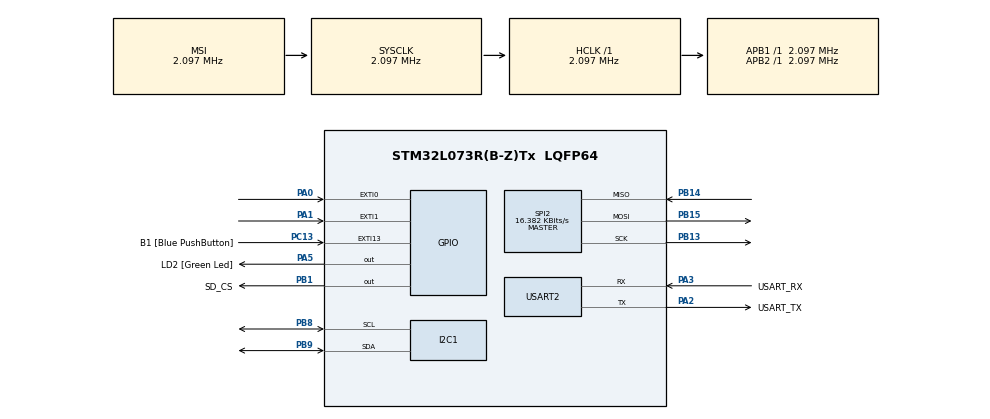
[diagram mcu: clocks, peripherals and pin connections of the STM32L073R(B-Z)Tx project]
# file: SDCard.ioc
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I2C1.Timing=0x00000608
Mcu.Family=STM32L0
Mcu.Name=STM32L073R(B-Z)Tx
Mcu.Package=LQFP64
NVIC.EXTI0_1_IRQn=true\:0\:0\:false\:false\:true\:true\:true\:true
PA0.GPIO_ModeDefaultEXTI=GPIO_MODE_IT_FALLING
PA0.GPIO_PuPd=GPIO_PULLUP
PA0.Signal=GPXTI0
PA1.GPIO_ModeDefaultEXTI=GPIO_MODE_IT_FALLING
PA1.GPIO_PuPd=GPIO_PULLUP
PA1.Signal=GPXTI1
PA13.GPIO_Label=TMS
PA13.Mode=Serial_Wire
PA13.Signal=SYS_SWDIO
PA14.GPIO_Label=TCK
PA14.Mode=Serial_Wire
PA14.Signal=SYS_SWCLK
PA2.GPIO_Label=USART_TX
PA2.Mode=Asynchronous
PA2.Signal=USART2_TX
PA3.GPIO_Label=USART_RX
PA3.Mode=Asynchronous
PA3.Signal=USART2_RX
PA5.GPIO_Label=LD2 [Green Led]
PA5.Signal=GPIO_Output
PB1.GPIO_Label=SD_CS
PB1.Signal=GPIO_Output
PB13.Mode=Full_Duplex_Master
PB13.Signal=SPI2_SCK
PB14.Mode=Full_Duplex_Master
PB14.Signal=SPI2_MISO
PB15.Mode=Full_Duplex_Master
PB15.Signal=SPI2_MOSI
PB8.Mode=I2C
PB8.Signal=I2C1_SCL
PB9.Mode=I2C
PB9.Signal=I2C1_SDA
PC13.GPIO_Label=B1 [Blue PushButton]
PC13.GPIO_ModeDefaultEXTI=GPIO_MODE_IT_FALLING
PC13.Signal=GPXTI13
PC14-OSC32_IN.Mode=LSE-External-Oscillator
PC14-OSC32_IN.Signal=RCC_OSC32_IN
PC15-OSC32_OUT.Mode=LSE-External-Oscillator
PC15-OSC32_OUT.Signal=RCC_OSC32_OUT
PH0-OSC_IN.GPIO_Label=MCO
PH0-OSC_IN.Mode=HSE-External-Clock-Source
PH0-OSC_IN.Signal=RCC_OSC_IN
ProjectManager.HeapSize=0x200
ProjectManager.StackSize=0x400
ProjectManager.TargetToolchain=STM32CubeIDE
RCC.AHBFreq_Value=2097000
RCC.APB1Freq_Value=2097000
RCC.APB1TimFreq_Value=2097000
RCC.APB2Freq_Value=2097000
RCC.APB2TimFreq_Value=2097000
RCC.HSE_VALUE=8000000
RCC.HSI16_VALUE=16000000
RCC.HSI48_VALUE=48000000
RCC.HSI_VALUE=16000000
RCC.MSI_VALUE=2097000
RCC.SYSCLKFreq_VALUE=2097000
RCC.VCOOutputFreq_Value=48000000
SPI2.BaudRatePrescaler=SPI_BAUDRATEPRESCALER_128
SPI2.CalculateBaudRate=16.382 KBits/s
SPI2.Direction=SPI_DIRECTION_2LINES
SPI2.Mode=SPI_MODE_MASTER
SPI2.VirtualType=VM_MASTER
USART2.VirtualMode-Asynchronous=VM_ASYNC
VP_FATFS_VS_Generic.Mode=User_defined
board=NUCLEO-L073RZ

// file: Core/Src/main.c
/* USER CODE BEGIN Header */
/**
  ******************************************************************************
  * @file           : main.c
  * @brief          : Main program body
  ******************************************************************************
  * @attention
  *
  * Copyright (c) 2024 STMicroelectronics.
  * All rights reserved.
  *
  * This software is licensed under terms that can be found in the LICENSE file
  * in the root directory of this software component.
  * If no LICENSE file comes with this software, it is provided AS-IS.
  *
  ******************************************************************************
  */
/* USER CODE END Header */
#include "main.h"
#include "fatfs.h"

/* USER CODE BEGIN Includes */
#include <stdbool.h>
#include <stdio.h>
#include "filter.h"
#include <string.h>
#include <stdarg.h> //for va_list var arg functions
/* USER CODE END Includes */

/* USER CODE BEGIN PD */
	I2C_HandleTypeDef hi2c1;
	UART_HandleTypeDef huart2;

	/* Constants */
	const float rThreshold = 0.7;

	const float kLowPassCutoff = 5.0;   // 5 hz
	const float kHighPassCutoff = 0.5;  // 0.5 hz
	const float kSamplingFrequency = 400.0;
	const float kEdgeThreshold = -2000.0;

	const unsigned long kFingerThreshold = 10000;
	const unsigned int kFingerCooldownMs = 500;

	const float decayRate = 0.02;
	const float thrRate = 0.05;
	const int minDiff = 50;
	const uint32_t fingerThreshold = 10000;  // threshold for detecting a finger on the sensor

	float maxValue = 0;
	float minValue = 0;
	float threshold = 0;
	long lastHeartbeat = 0;
	float lastValue = 0;
	int fingerDetected = 0;

	float last_diff = NAN;
	bool crossed = false;
	long crossed_time = 0;
	/* variables */
	LowPassFilter low_pass_filter_red;
	LowPassFilter low_pass_filter_ir;
	HighPassFilter high_pass_filter;
	LowPassFilter low_pass_filter;
	Differentiator differentiator;
	MovingAverageFilter moving_avg_filter;
	MovingAverageFilter moving_avg_bpm;
	MovingAverageFilter moving_avg_spo2;
	/* statistic Variables */
	MinMaxAvgStatistic stat_red;
	MinMaxAvgStatistic stat_ir;

	/* finger Detection */
	long finger_timestamp = 0;
	bool finger_detected = false;

	void initialize_filters() {
		HighPassFilter_Init(&high_pass_filter, kHighPassCutoff, kSamplingFrequency);
		LowPassFilter_Init(&low_pass_filter_red, kLowPassCutoff, kSamplingFrequency);
		LowPassFilter_Init(&low_pass_filter_ir, kLowPassCutoff, kSamplingFrequency);
		Differentiator_Init(&differentiator, kSamplingFrequency);
		MovingAverageFilter_Init(&moving_avg_filter);
		MovingAverageFilter_Init(&moving_avg_bpm);
		MovingAverageFilter_Init(&moving_avg_spo2);
	}

	/* SpO2 Calibration Coefficients */
	float kSpO2_A = 1.5958422;
	float kSpO2_B = -34.6596622;
	float kSpO2_C = 112.6898759;

	/* Pulse Oximetry SpO2 Calculation */
	float calculate_SpO2(float rred, float rir) {
		float r = rred / rir;
		float spo2 = kSpO2_A * r * r + kSpO2_B * r + kSpO2_C;
		return spo2;
	}
/* USER CODE END PD */

I2C_HandleTypeDef hi2c1;

SPI_HandleTypeDef hspi2;

UART_HandleTypeDef huart2;

/* USER CODE BEGIN PV */
#define MAX30102_ADDRESS  0x57 // I2C address ==== of MAX30102

void Transmit_UART(const char *msg) {
		HAL_UART_Transmit(&huart2, (uint8_t*)msg, strlen(msg), HAL_MAX_DELAY);
	}

void MAX30102_Init(void) {
	uint8_t configData[2];

//		0,1 == adress, value
	configData[0] = 0x09;  // select MODE_CONFIG register
	configData[1] = 0x03;  // set SpO2 mode (0x03== SpO2, 0x02 == heart rate only)
//		hi2cl handler for i2c
//		address shifterd by 1 only 7 bit sent (required)
//		2 indicate only 2 bytes to send

	HAL_I2C_Master_Transmit(&hi2c1, MAX30102_ADDRESS << 1, configData, 2, HAL_MAX_DELAY);

	// Set the LED pulse amplitude (this is an example, values need to be set properly)
	configData[0] = 0x0C;  // LED1_PULSE_AMPLITUDE ka register
	configData[1] = 0x1F;  // set the pulse amplitude for LED1 (Red LED we can see naked eyes)
	//		hi2cl handler for i2c
	//		adreess shifterd by 1 only 7 bit sent (required)
	//		2 indicate only 2 bytes to send

	HAL_I2C_Master_Transmit(&hi2c1, MAX30102_ADDRESS << 1, configData, 2, HAL_MAX_DELAY);

	// set LED2 (IR LED) pulse Amplitude
	configData[0] = 0x0D;  //register of ir led
	configData[1] = 0x1F;  // infra red LED
	//		hi2cl handler for i2c
	//		adreess shifterd by 1 only 7 bit sent (required)
	//		2 indicate only 2 bytes to send
	//		HAL_MAX_DELAY allows operation to block until successful trastmittion
	HAL_I2C_Master_Transmit(&hi2c1, MAX30102_ADDRESS << 1, configData, 2, HAL_MAX_DELAY);

}

void MAX30102_ReadRawData(uint32_t* redLED, uint32_t* irLED) {
	uint8_t rawData[6];  // 6 byte array as MAX30102 outputs 3 bytes for each LED data
	char uartBuf[50];
	// reading from FIFO register of MAX30102
	if (HAL_I2C_Mem_Read(&hi2c1, MAX30102_ADDRESS << 1, 0x07, I2C_MEMADD_SIZE_8BIT, rawData, 6, HAL_MAX_DELAY) != HAL_OK) {
		sprintf(uartBuf, "I2C read error\r\n");
		HAL_UART_Transmit(&huart2, (uint8_t*)uartBuf, strlen(uartBuf), HAL_MAX_DELAY);
		Error_Handler();  //  keep printing this message === so  avoid halting the program
	}

	// combine 3 bytes for each LED (Red and IR)
	*redLED = ((uint32_t)rawData[0] << 16) | ((uint32_t)rawData[1] << 8) | rawData[2];
	*irLED = ((uint32_t)rawData[3] << 16) | ((uint32_t)rawData[4] << 8) | rawData[5];
}

// register Addresses
//	#define MAX30105_INTSTAT1      0x00  // Interrupt Status 1
#define MAX30105_INTSTAT2      0x01  // Interrupt Status 2 stat of interupt  temp 1
//	#define MAX30105_INTENABLE1    0x02  // Interrupt Enable 1
#define MAX30105_INTENABLE2    0x03  // Interrupt Enable 2 INT_DIE_TEMP_RDY_ENABLE
#define MAX30105_DIETEMPCONFIG 0x21  // Die Temperature Config
#define MAX30105_TEMP_INTEGER  0x1F  // Temperature Integer Part
#define MAX30105_TEMP_FRACTION 0x20  // Temperature Fractional Part

#define MAX30105_INT_DIE_TEMP_RDY_ENABLE 0x02  // Bit 1

void CheckAndClearInterruptStatus(void) {
    uint8_t intStatus = 0;  // Variable to store the interrupt status
    char uartBuf[50];

    // Read the Interrupt Status 2 register (0x01)
    HAL_StatusTypeDef status = HAL_I2C_Mem_Read(&hi2c1, MAX30102_ADDRESS << 1, MAX30105_INTSTAT2, I2C_MEMADD_SIZE_8BIT, &intStatus, 1, HAL_MAX_DELAY);

    if (status == HAL_OK) {
        // Successfully read the register, output the status
        sprintf(uartBuf, "Interrupt Status 2: 0x%02X\r\n", intStatus);
        HAL_UART_Transmit(&huart2, (uint8_t*)uartBuf, strlen(uartBuf), HAL_MAX_DELAY);

        // Check if the DIE_TEMP_RDY bit (bit 1) is set
        if (intStatus & MAX30105_INT_DIE_TEMP_RDY_ENABLE) {
            sprintf(uartBuf, "Temperature Ready Interrupt was set, cleared now.\r\n");
            HAL_UART_Transmit(&huart2, (uint8_t*)uartBuf, strlen(uartBuf), HAL_MAX_DELAY);
        } else {
            sprintf(uartBuf, "No Temperature Ready Interrupt pending.\r\n");
            HAL_UART_Transmit(&huart2, (uint8_t*)uartBuf, strlen(uartBuf), HAL_MAX_DELAY);
        }
    } else {
        // If the read fails, output an error message
        sprintf(uartBuf, "Failed to read Interrupt Status 2 register.\r\n");
        HAL_UART_Transmit(&huart2, (uint8_t*)uartBuf, strlen(uartBuf), HAL_MAX_DELAY);
        Error_Handler();
    }
}

void MAX30102_EnableTemperatureInterrupt(void) {
    uint8_t data = MAX30105_INT_DIE_TEMP_RDY_ENABLE;
    // write to INT_ENABLE_2 register (0x03)
    HAL_I2C_Mem_Write(&hi2c1, MAX30102_ADDRESS << 1, MAX30105_INTENABLE2,
                      I2C_MEMADD_SIZE_8BIT, &data, 1, HAL_MAX_DELAY);
    char uartBuf[50];
    sprintf(uartBuf, "Interrupt enabled...\r\n");
    HAL_UART_Transmit(&huart2, (uint8_t*)uartBuf, strlen(uartBuf), HAL_MAX_DELAY);

}

// function to start temperature measurement on MAX30102
void MAX30102_StartTemperatureMeasurement(void) {
    uint8_t data = 0x01;  // Start temperature measurement
    // Write to TEMP_CONFIG register (0x21)
    HAL_I2C_Mem_Write(&hi2c1, MAX30102_ADDRESS << 1, MAX30105_DIETEMPCONFIG,
                      I2C_MEMADD_SIZE_8BIT, &data, 1, HAL_MAX_DELAY);
}

// function reading temperature after interrupt signals it's ready
float MAX30102_ReadTemperature(void) {
    uint8_t tempInt = 0, tempFrac = 0;
    // Read integer part of temperature
    HAL_I2C_Mem_Read(&hi2c1, MAX30102_ADDRESS << 1, MAX30105_TEMP_INTEGER,
                     I2C_MEMADD_SIZE_8BIT, &tempInt, 1, HAL_MAX_DELAY);
    // Read fractional part of temperature
    HAL_I2C_Mem_Read(&hi2c1, MAX30102_ADDRESS << 1, MAX30105_TEMP_FRACTION,
                     I2C_MEMADD_SIZE_8BIT, &tempFrac, 1, HAL_MAX_DELAY);
    // Calculate temperature in degrees Celsius
    return (float)tempInt + ((float)tempFrac * 0.0625);
}

// fnterrupt callback for PA1 external interrupt
void HAL_GPIO_EXTI_Callback(uint16_t GPIO_Pin) {
if (GPIO_Pin == GPIO_PIN_1) {  // check if PA1 triggered the interrupt
	// Debug message to check if interrupt is being triggered
//    	__HAL_GPIO_EXTI_CLEAR_FLAG(GPIO_PIN_1);

	        char debugMsg[] = "Interrupt Triggered PA1!\r\n";
	        HAL_UART_Transmit(&huart2, (uint8_t*)debugMsg, strlen(debugMsg), HAL_MAX_DELAY);

    uint8_t intStatus = 0;
    HAL_I2C_Mem_Read(&hi2c1, MAX30102_ADDRESS << 1, MAX30105_INTSTAT2, I2C_MEMADD_SIZE_8BIT, &intStatus, 1, HAL_MAX_DELAY);

    if (intStatus & MAX30105_INT_DIE_TEMP_RDY_ENABLE) {  // if temperature ready
        float temperature = MAX30102_ReadTemperature();  // read temperature
        char uartBuf[100];
        sprintf(uartBuf, "Temperature: %.2f°C\r\n", temperature);
        HAL_UART_Transmit(&huart2, (uint8_t*)uartBuf, strlen(uartBuf), HAL_MAX_DELAY);
        // clearing the interrupt by reading the status register again
        HAL_I2C_Mem_Read(&hi2c1, MAX30102_ADDRESS << 1, MAX30105_INTSTAT2, I2C_MEMADD_SIZE_8BIT, &intStatus, 1, HAL_MAX_DELAY);
    }

}
if (GPIO_Pin == GPIO_PIN_0) {  // check if PB0 triggered the interrupt
	// Debug message to check if interrupt is being triggered
//    	__HAL_GPIO_EXTI_CLEAR_FLAG(GPIO_PIN_1);

	        char debugMsg[] = "Interrupt Triggered PB0!\r\n";
	        HAL_UART_Transmit(&huart2, (uint8_t*)debugMsg, strlen(debugMsg), HAL_MAX_DELAY);

    uint8_t intStatus = 0;
    HAL_I2C_Mem_Read(&hi2c1, MAX30102_ADDRESS << 1, MAX30105_INTSTAT2, I2C_MEMADD_SIZE_8BIT, &intStatus, 1, HAL_MAX_DELAY);

    if (intStatus & MAX30105_INT_DIE_TEMP_RDY_ENABLE) {  // if temperature ready
        float temperature = MAX30102_ReadTemperature();  // read temperature
        char uartBuf[100];
        sprintf(uartBuf, "Temperature: %.2f°C\r\n", temperature);
        HAL_UART_Transmit(&huart2, (uint8_t*)uartBuf, strlen(uartBuf), HAL_MAX_DELAY);
        // clearing the interrupt by reading the status register again
//            HAL_I2C_Mem_Read(&hi2c1, MAX30102_ADDRESS << 1, MAX30105_INTSTAT2, I2C_MEMADD_SIZE_8BIT, &intStatus, 1, HAL_MAX_DELAY);
    }

}
}

int Detect_Finger(uint32_t redLED) {
	return (redLED > fingerThreshold);
}

void Process_Heartbeat(uint32_t redLED) {
	char uartBuf[100];
	float currentValue = (float)redLED;

	// pdate max and min values
	maxValue = fmaxf(maxValue, currentValue);
	minValue = fminf(minValue, currentValue);

	// alculate dynamic threshold
	float nthreshold = (maxValue - minValue) * rThreshold + minValue;
	threshold = threshold * (1 - thrRate) + nthreshold * thrRate;
	threshold = fminf(maxValue, fmaxf(minValue, threshold));

	// check if the heartbeat is detected
	if (currentValue >= threshold && lastValue < threshold && (maxValue - minValue) > minDiff && HAL_GetTick() - lastHeartbeat > 300) {
		if (lastHeartbeat != 0) {
			int bpm = 60000 / (HAL_GetTick() - lastHeartbeat);
			if (bpm > 0 && bpm < 25000) {
				sprintf(uartBuf, "Heart Rate (BPM): %d\r\n", bpm);
				Transmit_UART(uartBuf);
			}
		}
		lastHeartbeat = HAL_GetTick();
	}

	// Apply decay to max/min
	maxValue -= (maxValue - currentValue) * decayRate;
	minValue += (currentValue - minValue) * decayRate;

	lastValue = currentValue;
}
/* USER CODE END PV */

void SystemClock_Config(void);
static void MX_GPIO_Init(void);
static void MX_USART2_UART_Init(void);
static void MX_SPI2_Init(void);
static void MX_I2C1_Init(void);
/* USER CODE BEGIN PFP */
void myprintf(const char *fmt, ...);
/* USER CODE END PFP */

/* USER CODE BEGIN 0 */
void myprintf(const char *fmt, ...) {
  static char buffer[256];
  va_list args;
  va_start(args, fmt);
  vsnprintf(buffer, sizeof(buffer), fmt, args);
  va_end(args);

  int len = strlen(buffer);
  HAL_UART_Transmit(&huart2, (uint8_t*)buffer, len, -1);

}
/* USER CODE END 0 */

int main(void)
{

  /* MCU Configuration--------------------------------------------------------*/

  /* Reset of all peripherals, Initializes the Flash interface and the Systick. */
  HAL_Init();

  /* Configure the system clock */
  SystemClock_Config();

  /* Initialize all configured peripherals */
  MX_GPIO_Init();
  MX_USART2_UART_Init();
  MX_SPI2_Init();
  MX_FATFS_Init();
  MX_I2C1_Init();
  /* USER CODE BEGIN 2 */
  myprintf("\r\n~ SD card demo by kiwih ~\r\n\r\n");

    HAL_Delay(1000); //a short delay is important to let the SD card settle

    //some variables for FatFs
    FATFS FatFs; 	//Fatfs handle
    FIL fil; 		//File handle
    FRESULT fres; //Result after operations

    //Open the file system
    fres = f_mount(&FatFs, "", 1); //1=mount now
    if (fres != FR_OK) {
  	myprintf("f_mount error (%i)\r\n", fres);
  	while(1);
    }

    //Let's get some statistics from the SD card
    DWORD free_clusters, free_sectors, total_sectors;

    FATFS* getFreeFs;

    fres = f_getfree("", &free_clusters, &getFreeFs);
    if (fres != FR_OK) {
  	myprintf("f_getfree error (%i)\r\n", fres);
  	while(1);
    }

    //Formula comes from ChaN's documentation
    total_sectors = (getFreeFs->n_fatent - 2) * getFreeFs->csize;
    free_sectors = free_clusters * getFreeFs->csize;

    myprintf("SD card stats:\r\n%10lu KiB total drive space.\r\n%10lu KiB available.\r\n", total_sectors / 2, free_sectors / 2);

    //Now let's try to open file "test.txt"
    fres = f_open(&fil, "test.txt", FA_READ);
    if (fres != FR_OK) {
  	myprintf("f_open error (%i)\r\n");
  	while(1);
    }
    myprintf("I was able to open 'test.txt' for reading!\r\n");

    //Read 30 bytes from "test.txt" on the SD card
    BYTE readBuf[30];

    //We can either use f_read OR f_gets to get data out of files
    //f_gets is a wrapper on f_read that does some string formatting for us
    TCHAR* rres = f_gets((TCHAR*)readBuf, 30, &fil);
    if(rres != 0) {
  	myprintf("Read string from 'test.txt' contents: %s\r\n", readBuf);
    } else {
  	myprintf("f_gets error (%i)\r\n", fres);
    }

    //Be a tidy kiwi - don't forget to close your file!
    f_close(&fil);

    //Now let's try and write a file "write.txt"
    fres = f_open(&fil, "write.txt", FA_WRITE | FA_OPEN_ALWAYS | FA_CREATE_ALWAYS);
    if(fres == FR_OK) {
  	myprintf("I was able to open 'write.txt' for writing\r\n");
    } else {
  	myprintf("f_open error (%i)\r\n", fres);
    }

    //Copy in a string
    strncpy((char*)readBuf, "a new file is made!\n", strlen("a new file is made!\n"));
    UINT bytesWrote;
    fres = f_write(&fil, readBuf, 19, &bytesWrote);
    if(fres == FR_OK) {
  	myprintf("Wrote %i bytes to 'write.txt'!\r\n", bytesWrote);
    } else {
  	myprintf("f_write error (%i)\r\n");
    }

    //Be a tidy kiwi - don't forget to close your file!
    f_close(&fil);

    //We're done, so de-mount the drive
//    f_mount(NULL, "", 0);

    //a2...............................................................................

	uint32_t redLED, irLED;

	char uartBuf[100];  // buffer for  messages
	sprintf(uartBuf, "UART initialezed. waiting for sensor data...\r\n");
	HAL_UART_Transmit(&huart2, (uint8_t*)uartBuf, strlen(uartBuf), HAL_MAX_DELAY);
	// MAX30102 sensor
	MAX30102_Init();
	MAX30102_EnableTemperatureInterrupt();
		  // filters
	initialize_filters();

  /* USER CODE END 2 */

  /* Infinite loop */
  while (1)
  {

    /* USER CODE BEGIN 3 */
//	  //Blink the LED every second
//	  sprintf(uartBuf, "starting temp measurement...\r\n");
//	  HAL_UART_Transmit(&huart2, (uint8_t*)uartBuf, strlen(uartBuf), HAL_MAX_DELAY);
//
////		    CheckAndClearInterruptStatus();
//
//	    MAX30102_StartTemperatureMeasurement();
//
//
//
//
////		 uint8_t intStatus = 0;
////		 HAL_I2C_Mem_Read(&hi2c1, MAX30102_ADDRESS << 1, MAX30105_INTSTAT2, I2C_MEMADD_SIZE_8BIT, &intStatus, 1, HAL_MAX_DELAY);
////		 if (intStatus & MAX30105_INT_DIE_TEMP_RDY_ENABLE) {
////		     sprintf(uartBuf, "temp ready\r\n");
////		     HAL_UART_Transmit(&huart2, (uint8_t*)uartBuf, strlen(uartBuf), HAL_MAX_DELAY);
////		 }
//
//
//	    if (HAL_GPIO_ReadPin(GPIOA, GPIO_PIN_1) == GPIO_PIN_RESET) {
//	        sprintf(uartBuf, "INT pin is still LOW!\r\n");
//	        HAL_UART_Transmit(&huart2, (uint8_t*)uartBuf, strlen(uartBuf), HAL_MAX_DELAY);
//	    } else {
//	        sprintf(uartBuf, "INT pin is HIGH!\r\n");
//	        HAL_UART_Transmit(&huart2, (uint8_t*)uartBuf, strlen(uartBuf), HAL_MAX_DELAY);
//	    }
//
//
//
//	 HAL_Delay(1000);
//	 continue;

	uint32_t start_time = HAL_GetTick();
	MAX30102_ReadRawData(&redLED, &irLED);
	float current_value_red = (float)redLED;
	float current_value_ir = (float)irLED;

    char uartBuf[100];
    sprintf(uartBuf, "Red LED: %lu, IR LED: %lu\r\n", redLED, irLED);

//	    Transmit_UART(uartBuf);

	  // Detect Finger using the Red LED value
			  if (current_value_red > kFingerThreshold) {
				  if (HAL_GetTick() - finger_timestamp > kFingerCooldownMs) {
					  finger_detected = true;
				  }
			  } else {
				  // Reset all values
				  if (finger_detected && (HAL_GetTick() - finger_timestamp > 1000)) {
				  Differentiator_Reset(&differentiator);
				  MovingAverageFilter_Reset(&moving_avg_bpm);
				  MovingAverageFilter_Reset(&moving_avg_spo2);
				  LowPassFilter_Reset(&low_pass_filter_red);
				  LowPassFilter_Reset(&low_pass_filter_ir);
				  HighPassFilter_Reset(&high_pass_filter);
				  MinMaxAvgStatistic_Reset(&stat_red);
				  MinMaxAvgStatistic_Reset(&stat_ir);

				  finger_detected = false;
				  finger_timestamp = HAL_GetTick();
				  }
			  }

			  if (finger_detected) {
				  // low Filters to Red and IR signals
				  current_value_red = LowPassFilter_Process(&low_pass_filter_red, current_value_red);
				  current_value_ir = LowPassFilter_Process(&low_pass_filter_ir, current_value_ir);

				  // statistics for both Red and IR signals
				  MinMaxAvgStatistic_Process(&stat_red, current_value_red);
				  MinMaxAvgStatistic_Process(&stat_ir, current_value_ir);

				  //  High Pass Filter for heartbeat detection
				  float current_value = HighPassFilter_Process(&high_pass_filter, current_value_red);
				  float current_diff = Differentiator_Process(&differentiator, current_value);

				  if (!isnan(current_diff) && !isnan(last_diff)) {
					  // heartbeat via zero-crossing
					  if (last_diff > 0 && current_diff < 0) {
						  crossed = true;
						  crossed_time = HAL_GetTick();
					  }

					  if (crossed && current_diff < kEdgeThreshold) {
						  if (lastHeartbeat != 0 && crossed_time - lastHeartbeat > 300) {
							  // Calculate heart rate (BPM)
							  int bpm = 60000 / (crossed_time - lastHeartbeat);

							  // Calculate R-values for SpO2 calculation
							  float rred = (MinMaxAvgStatistic_Maximum(&stat_red) - MinMaxAvgStatistic_Minimum(&stat_red)) / MinMaxAvgStatistic_Average(&stat_red);
							  float rir = (MinMaxAvgStatistic_Maximum(&stat_ir) - MinMaxAvgStatistic_Minimum(&stat_ir)) / MinMaxAvgStatistic_Average(&stat_ir);
							  float spo2 = calculate_SpO2(rred, rir);

							  if (bpm > 5 && bpm < 250) {
								  int avg_bpm = MovingAverageFilter_Process(&moving_avg_bpm, bpm);
								  int avg_spo2 = MovingAverageFilter_Process(&moving_avg_spo2, spo2);

								  sprintf(uartBuf, "heart rate: %d bpm, SpO2: %.2f%%\r\n", avg_bpm, (double)avg_spo2);

								  HAL_UART_Transmit(&huart2, (uint8_t*)uartBuf, strlen(uartBuf), HAL_MAX_DELAY);

								  // Open the file for appending data instead of writing from the beginning
								  fres = f_open(&fil, "data.txt", FA_WRITE | FA_OPEN_APPEND);
								  if(fres == FR_OK) {
								      myprintf("I was able to open 'data.txt' for appending\r\n");
								  } else {
								      myprintf("f_open error (%i)\r\n", fres);
								  }

								  // Copy in a string to append
								  strncpy((char*)readBuf, "appended data!", 15);  // Use your desired string
								  UINT bytesWrote;
								  fres = f_write(&fil, uartBuf, strlen(uartBuf), &bytesWrote);
								  if(fres == FR_OK) {
								      myprintf("Appended %i bytes to 'data.txt'!\r\n", bytesWrote);
								  } else {
								      myprintf("f_write error (%i)\r\n", fres);
								  }

								  // Be a tidy kiwi - don't forget to close your file!
								  f_close(&fil);

							  }
						  }
						  crossed = false;
						  lastHeartbeat = crossed_time;
					  }
				  }
				  last_diff = current_diff;

				    // end time
				    uint32_t end_time = HAL_GetTick();

				    //  time taken
				    uint32_t time_taken = end_time - start_time;

				    sprintf(uartBuf, "Processing time: %lu ms\r\n", time_taken);
//					    Transmit_UART(uartBuf);

			  }else{
				  sprintf(uartBuf, "place finger\r\n");
				  Transmit_UART(uartBuf);
//					  HAL_Delay(500);
			  }

//				  HAL_Delay(2);  // sampling rate for 400 samples per second
		  }

  /* USER CODE END 3 */
}

void SystemClock_Config(void)
{
  RCC_OscInitTypeDef RCC_OscInitStruct = {0};
  RCC_ClkInitTypeDef RCC_ClkInitStruct = {0};
  RCC_PeriphCLKInitTypeDef PeriphClkInit = {0};

  /** Configure the main internal regulator output voltage
  */
  __HAL_PWR_VOLTAGESCALING_CONFIG(PWR_REGULATOR_VOLTAGE_SCALE1);

  /** Initializes the RCC Oscillators according to the specified parameters
  * in the RCC_OscInitTypeDef structure.
  */
  RCC_OscInitStruct.OscillatorType = RCC_OSCILLATORTYPE_MSI;
  RCC_OscInitStruct.MSIState = RCC_MSI_ON;
  RCC_OscInitStruct.MSICalibrationValue = 0;
  RCC_OscInitStruct.MSIClockRange = RCC_MSIRANGE_5;
  RCC_OscInitStruct.PLL.PLLState = RCC_PLL_NONE;
  if (HAL_RCC_OscConfig(&RCC_OscInitStruct) != HAL_OK)
  {
    Error_Handler();
  }

  /** Initializes the CPU, AHB and APB buses clocks
  */
  RCC_ClkInitStruct.ClockType = RCC_CLOCKTYPE_HCLK|RCC_CLOCKTYPE_SYSCLK
                              |RCC_CLOCKTYPE_PCLK1|RCC_CLOCKTYPE_PCLK2;
  RCC_ClkInitStruct.SYSCLKSource = RCC_SYSCLKSOURCE_MSI;
  RCC_ClkInitStruct.AHBCLKDivider = RCC_SYSCLK_DIV1;
  RCC_ClkInitStruct.APB1CLKDivider = RCC_HCLK_DIV1;
  RCC_ClkInitStruct.APB2CLKDivider = RCC_HCLK_DIV1;

  if (HAL_RCC_ClockConfig(&RCC_ClkInitStruct, FLASH_LATENCY_0) != HAL_OK)
  {
    Error_Handler();
  }
  PeriphClkInit.PeriphClockSelection = RCC_PERIPHCLK_USART2|RCC_PERIPHCLK_I2C1;
  PeriphClkInit.Usart2ClockSelection = RCC_USART2CLKSOURCE_PCLK1;
  PeriphClkInit.I2c1ClockSelection = RCC_I2C1CLKSOURCE_PCLK1;
  if (HAL_RCCEx_PeriphCLKConfig(&PeriphClkInit) != HAL_OK)
  {
    Error_Handler();
  }
}

static void MX_I2C1_Init(void)
{

  hi2c1.Instance = I2C1;
  hi2c1.Init.Timing = 0x00000608;
  hi2c1.Init.OwnAddress1 = 0;
  hi2c1.Init.AddressingMode = I2C_ADDRESSINGMODE_7BIT;
  hi2c1.Init.DualAddressMode = I2C_DUALADDRESS_DISABLE;
  hi2c1.Init.OwnAddress2 = 0;
  hi2c1.Init.OwnAddress2Masks = I2C_OA2_NOMASK;
  hi2c1.Init.GeneralCallMode = I2C_GENERALCALL_DISABLE;
  hi2c1.Init.NoStretchMode = I2C_NOSTRETCH_DISABLE;
  if (HAL_I2C_Init(&hi2c1) != HAL_OK)
  {
    Error_Handler();
  }

  /** Configure Analogue filter
  */
  if (HAL_I2CEx_ConfigAnalogFilter(&hi2c1, I2C_ANALOGFILTER_ENABLE) != HAL_OK)
  {
    Error_Handler();
  }

  /** Configure Digital filter
  */
  if (HAL_I2CEx_ConfigDigitalFilter(&hi2c1, 0) != HAL_OK)
  {
    Error_Handler();
  }

}

static void MX_SPI2_Init(void)
{

  /* SPI2 parameter configuration*/
  hspi2.Instance = SPI2;
  hspi2.Init.Mode = SPI_MODE_MASTER;
  hspi2.Init.Direction = SPI_DIRECTION_2LINES;
  hspi2.Init.DataSize = SPI_DATASIZE_8BIT;
  hspi2.Init.CLKPolarity = SPI_POLARITY_LOW;
  hspi2.Init.CLKPhase = SPI_PHASE_1EDGE;
  hspi2.Init.NSS = SPI_NSS_SOFT;
  hspi2.Init.BaudRatePrescaler = SPI_BAUDRATEPRESCALER_128;
  hspi2.Init.FirstBit = SPI_FIRSTBIT_MSB;
  hspi2.Init.TIMode = SPI_TIMODE_DISABLE;
  hspi2.Init.CRCCalculation = SPI_CRCCALCULATION_DISABLE;
  hspi2.Init.CRCPolynomial = 7;
  if (HAL_SPI_Init(&hspi2) != HAL_OK)
  {
    Error_Handler();
  }

}

static void MX_USART2_UART_Init(void)
{

  huart2.Instance = USART2;
  huart2.Init.BaudRate = 115200;
  huart2.Init.WordLength = UART_WORDLENGTH_8B;
  huart2.Init.StopBits = UART_STOPBITS_1;
  huart2.Init.Parity = UART_PARITY_NONE;
  huart2.Init.Mode = UART_MODE_TX_RX;
  huart2.Init.HwFlowCtl = UART_HWCONTROL_NONE;
  huart2.Init.OverSampling = UART_OVERSAMPLING_16;
  huart2.Init.OneBitSampling = UART_ONE_BIT_SAMPLE_DISABLE;
  huart2.AdvancedInit.AdvFeatureInit = UART_ADVFEATURE_NO_INIT;
  if (HAL_UART_Init(&huart2) != HAL_OK)
  {
    Error_Handler();
  }

}

static void MX_GPIO_Init(void)
{
  GPIO_InitTypeDef GPIO_InitStruct = {0};

  /* GPIO Ports Clock Enable */
  __HAL_RCC_GPIOC_CLK_ENABLE();
  __HAL_RCC_GPIOH_CLK_ENABLE();
  __HAL_RCC_GPIOA_CLK_ENABLE();
  __HAL_RCC_GPIOB_CLK_ENABLE();

  /*Configure GPIO pin Output Level */
  HAL_GPIO_WritePin(LD2_GPIO_Port, LD2_Pin, GPIO_PIN_RESET);

  /*Configure GPIO pin Output Level */
  HAL_GPIO_WritePin(SD_CS_GPIO_Port, SD_CS_Pin, GPIO_PIN_RESET);

  /*Configure GPIO pin : B1_Pin */
  GPIO_InitStruct.Pin = B1_Pin;
  GPIO_InitStruct.Mode = GPIO_MODE_IT_FALLING;
  GPIO_InitStruct.Pull = GPIO_NOPULL;
  HAL_GPIO_Init(B1_GPIO_Port, &GPIO_InitStruct);

  /*Configure GPIO pins : PA0 PA1 */
  GPIO_InitStruct.Pin = GPIO_PIN_0|GPIO_PIN_1;
  GPIO_InitStruct.Mode = GPIO_MODE_IT_FALLING;
  GPIO_InitStruct.Pull = GPIO_PULLUP;
  HAL_GPIO_Init(GPIOA, &GPIO_InitStruct);

  /*Configure GPIO pin : LD2_Pin */
  GPIO_InitStruct.Pin = LD2_Pin;
  GPIO_InitStruct.Mode = GPIO_MODE_OUTPUT_PP;
  GPIO_InitStruct.Pull = GPIO_NOPULL;
  GPIO_InitStruct.Speed = GPIO_SPEED_FREQ_LOW;
  HAL_GPIO_Init(LD2_GPIO_Port, &GPIO_InitStruct);

  /*Configure GPIO pin : SD_CS_Pin */
  GPIO_InitStruct.Pin = SD_CS_Pin;
  GPIO_InitStruct.Mode = GPIO_MODE_OUTPUT_PP;
  GPIO_InitStruct.Pull = GPIO_NOPULL;
  GPIO_InitStruct.Speed = GPIO_SPEED_FREQ_LOW;
  HAL_GPIO_Init(SD_CS_GPIO_Port, &GPIO_InitStruct);

  /* EXTI interrupt init*/
  HAL_NVIC_SetPriority(EXTI0_1_IRQn, 0, 0);
  HAL_NVIC_EnableIRQ(EXTI0_1_IRQn);

}

void Error_Handler(void)
{
  __disable_irq();
  while (1)
  {
  }
}
